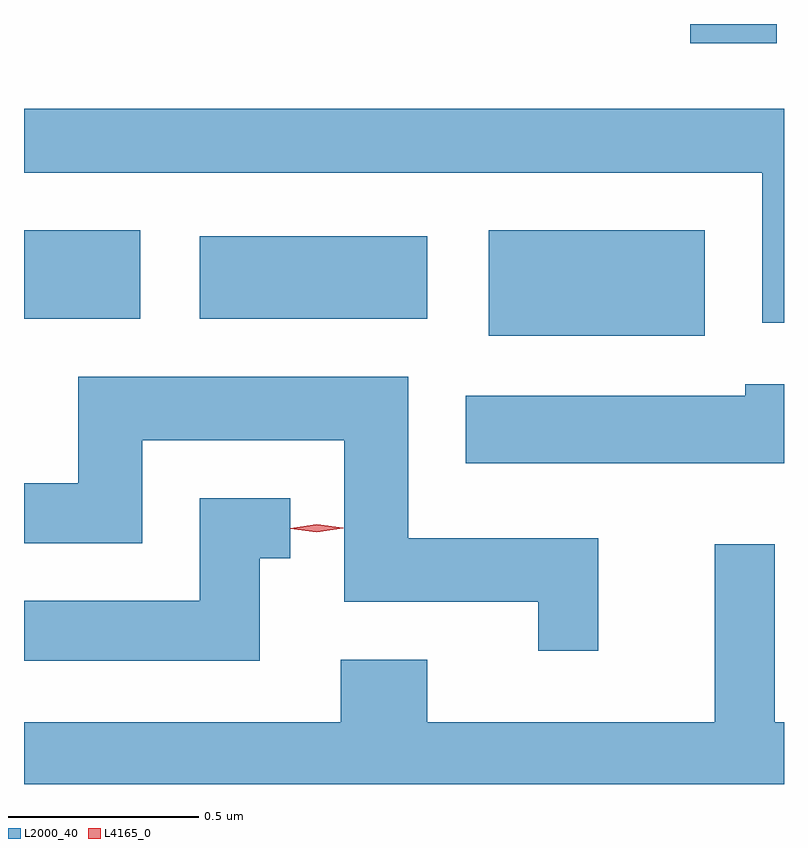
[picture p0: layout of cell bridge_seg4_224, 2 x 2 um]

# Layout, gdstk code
import gdstk
lib = gdstk.Library(unit=1e-6, precision=1e-09)
def R(c, l, rs):  # rectangles x0, y0, x1, y1
    for r in rs: c.add(gdstk.rectangle(r[:2], r[2:], *l))
def P(c, l, *ps):  # polygons
    for p in ps: c.add(gdstk.Polygon(p, *l))
L2000_40 = (2000, 40)
L4165_0 = (4165, 0)

bridge_seg4_224 = lib.new_cell('bridge_seg4_224')
R(bridge_seg4_224, L2000_40, [(963.101,1276.041,963.669,1276.319), (961.878,1276.086,962.184,1276.319), (962.341,1276.086,962.939,1276.304), (963.631,1276.811,963.859,1276.862)])
P(bridge_seg4_224, L2000_40, [(963.878,1276.639),(961.878,1276.639),(961.878,1276.471),(963.821,1276.471),(963.821,1276.076),(963.878,1276.076)],
  [(963.389,1275.509),(962.889,1275.509),(962.889,1275.934),(962.021,1275.934),(962.021,1275.654),(961.878,1275.654),(961.878,1275.496),(962.189,1275.496),(962.189,1275.766),(962.721,1275.766),(962.721,1275.341),(963.231,1275.341),(963.231,1275.213),(963.389,1275.213)],
  [(963.878,1275.914),(963.776,1275.914),(963.776,1275.884),(963.041,1275.884),(963.041,1275.706),(963.878,1275.706)],
  [(962.499,1275.456),(962.578,1275.456),(962.578,1275.614),(962.341,1275.614),(962.341,1275.344),(961.878,1275.344),(961.878,1275.186),(962.499,1275.186)],
  [(963.878,1275.024),(963.854,1275.024),(963.854,1275.493),(963.696,1275.493),(963.696,1275.024),(962.939,1275.024),(962.939,1275.189),(962.711,1275.189),(962.711,1275.024),(961.878,1275.024),(961.878,1274.862),(963.878,1274.862)])
P(bridge_seg4_224, L4165_0, [(962.648,1275.525),(962.579,1275.534),(962.579,1275.535),(962.579,1275.535),(962.648,1275.545),(962.718,1275.536),(962.718,1275.536),(962.718,1275.535)])

lib.write_gds('bridge_seg4_224.gds')
